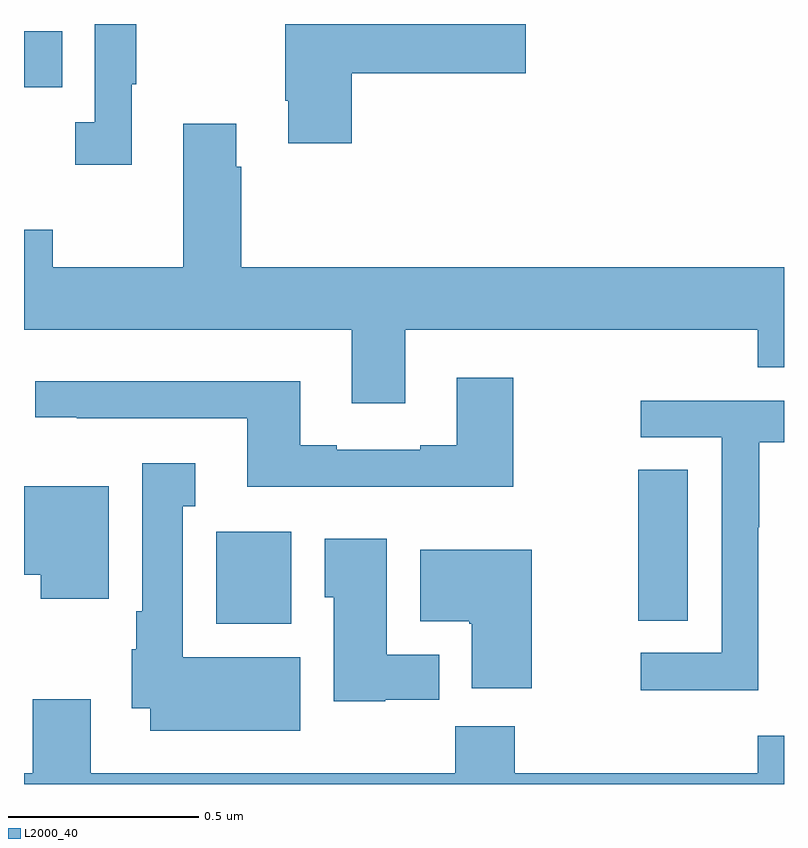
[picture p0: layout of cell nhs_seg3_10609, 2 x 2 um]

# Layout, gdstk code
import gdstk
lib = gdstk.Library(unit=1e-6, precision=1e-09)
def R(c, l, rs):  # rectangles x0, y0, x1, y1
    for r in rs: c.add(gdstk.rectangle(r[:2], r[2:], *l))
def P(c, l, *ps):  # polygons
    for p in ps: c.add(gdstk.Polygon(p, *l))
L2000_40 = (2000, 40)

nhs_seg3_10609 = lib.new_cell('nhs_seg3_10609')
R(nhs_seg3_10609, L2000_40, [(243.506,686.822,243.703,687.064), (244.616,686.83,244.747,687.227), (243,688.234,243.101,688.381)])
P(nhs_seg3_10609, L2000_40, [(243.283,688.241),(243.295,688.241),(243.295,688.4),(243.186,688.4),(243.186,688.142),(243.135,688.142),(243.135,688.029),(243.283,688.029)],
  [(243.863,688.271),(244.321,688.271),(244.321,688.4),(243.688,688.4),(243.688,688.198),(243.695,688.198),(243.695,688.086),(243.863,688.086)],
  [(244.003,687.596),(244.931,687.596),(244.931,687.497),(245,687.497),(245,687.76),(243.572,687.76),(243.572,688.025),(243.559,688.025),(243.559,688.138),(243.419,688.138),(243.419,687.76),(243.075,687.76),(243.075,687.859),(243,687.859),(243,687.596),(243.863,687.596),(243.863,687.402),(244.003,687.402)],
  [(244.287,687.469),(244.139,687.469),(244.139,687.292),(244.043,687.292),(244.043,687.279),(243.823,687.279),(243.823,687.292),(243.727,687.292),(243.727,687.46),(243.03,687.46),(243.03,687.365),(243.139,687.365),(243.139,687.363),(243.587,687.363),(243.587,687.182),(244.287,687.182)],
  [(244.932,687.076),(244.935,687.076),(244.935,687.3),(245,687.3),(245,687.408),(244.623,687.408),(244.623,687.312),(244.836,687.312),(244.836,686.745),(244.623,686.745),(244.623,686.647),(244.932,686.647)],
  [(243.727,686.734),(243.418,686.734),(243.418,687.131),(243.451,687.131),(243.451,687.244),(243.311,687.244),(243.311,686.854),(243.296,686.854),(243.296,686.754),(243.284,686.754),(243.284,686.6),(243.332,686.6),(243.332,686.54),(243.727,686.54)],
  [(243.223,687.184),(243,687.184),(243,686.951),(243.044,686.951),(243.044,686.888),(243.223,686.888)],
  [(243.951,686.622),(244.093,686.622),(244.093,686.74),(243.955,686.74),(243.955,687.046),(243.791,687.046),(243.791,686.892),(243.815,686.892),(243.815,686.618),(243.951,686.618)],
  [(244.336,687.016),(244.043,687.016),(244.043,686.828),(244.172,686.828),(244.172,686.822),(244.178,686.822),(244.178,686.652),(244.336,686.652)],
  [(245,686.527),(244.931,686.527),(244.931,686.428),(244.292,686.428),(244.292,686.552),(244.135,686.552),(244.135,686.428),(243.175,686.428),(243.175,686.623),(243.023,686.623),(243.023,686.428),(243,686.428),(243,686.4),(245,686.4)])

lib.write_gds('nhs_seg3_10609.gds')
